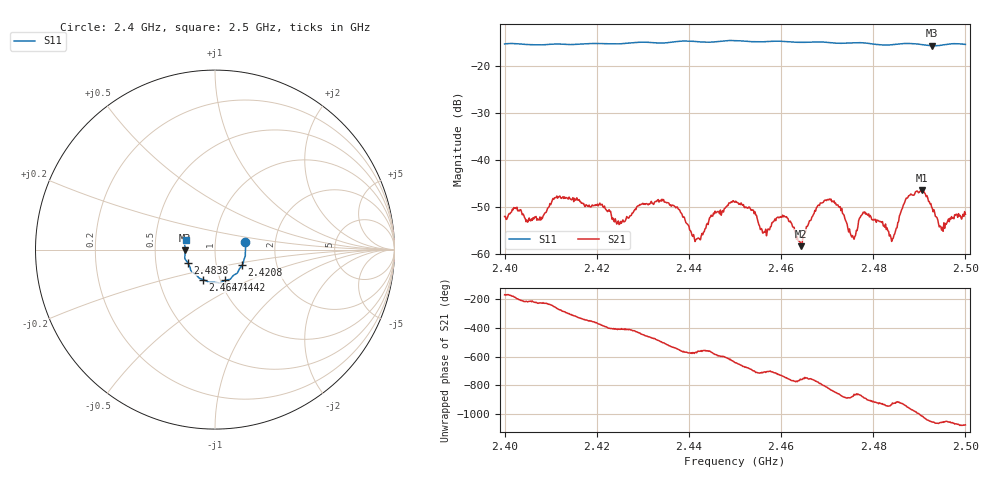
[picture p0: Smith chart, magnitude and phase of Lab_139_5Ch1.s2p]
# Hz S RI R 50
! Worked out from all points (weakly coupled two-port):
!   601 points, 2.4 GHz to 2.5 GHz, reference 50 ohm
!   highest |S21| = -46.36 dB at 2.4905 GHz (marker M1); lowest = -58.4 dB at 2.4643 GHz (marker M2)
!   lowest |S11| = -15.6 dB at 2.4928 GHz (marker M3), VSWR 1.40, Z = 35.8 - j0.363 ohm
!   |S11| at or under -10 dB: start of sweep to end of sweep
!   S12 and S22 are empty: the file has one direction only
!   S11 on the Smith chart (normalised r, x): 2.4 GHz: 1.40, +0.12; 2.4208 GHz: 1.33, -0.24; 2.4442 GHz: 1.05, -0.37; 2.4647 GHz: 0.83, -0.29; 2.4838 GHz: 0.73, -0.11; 2.5 GHz: 0.72, +0.08
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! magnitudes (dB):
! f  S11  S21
! 2.4 GHz  -15.2  -52.0
! 2.4167 GHz  -15.3  -49.2
! 2.4208 GHz  -15.2  -49.6
! 2.4248 GHz  -15.2  -53.8
! 2.4333 GHz  -15.0  -48.4
! 2.4417 GHz  -14.8  -56.8
! 2.4442 GHz  -14.9  -53.7
! 2.45 GHz  -14.5  -49.0
! 2.4565 GHz  -14.8  -55.4
! 2.4608 GHz  -14.7  -52.1
! 2.4643 GHz  -14.9  -58.4
! 2.4647 GHz  -14.9  -57.0
! 2.4667 GHz  -14.8  -52.2
! 2.4703 GHz  -14.9  -48.5
! 2.4755 GHz  -15.0  -56.1
! 2.4782 GHz  -15.0  -51.1
! 2.4833 GHz  -15.5  -55.2
! 2.4838 GHz  -15.4  -56.5
! 2.4905 GHz  -15.4  -46.4
! 2.4928 GHz  -15.6  -50.3
! 2.4947 GHz  -15.5  -54.2
! 2.5 GHz  -15.3  -51.6
